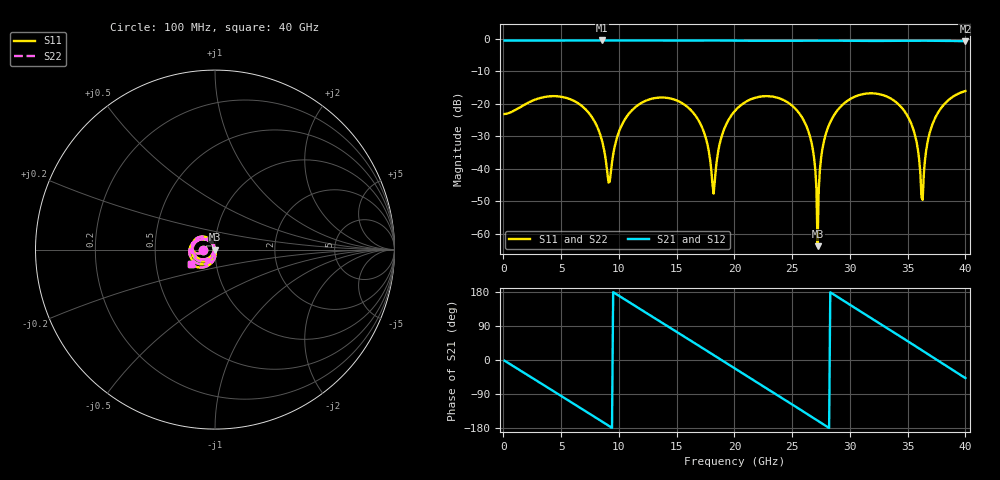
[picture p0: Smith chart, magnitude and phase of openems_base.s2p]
! thru_s8x2_L3: 2×thru, L3, 8 mm
! stackup: 8-layer 1.6 mm FR-4 without the L2 plane
! ports: 1, 2
! openEMS 0.37.0, staircase, base mesh (dfine 0.035 mm), 413725 cells
# Hz S RI R 50
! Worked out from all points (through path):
!   400 points, 100 MHz to 40 GHz, reference 50 ohm
!   highest |S21| = -0.57 dB at 8.5 GHz (marker M1); lowest = -0.8 dB at 40 GHz (marker M2)
!   group delay of S21, straight-line fit = 53.3 ps
!   lowest |S11| = -63.9 dB at 27.2 GHz (marker M3), VSWR 1.00, Z = 49.9 + j0.00371 ohm
!   |S11| at or under -10 dB: start of sweep to end of sweep
!   |S22| runs from -63.9 to -16.1 dB; largest |S21 - S12| = 0
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1e8  -0.0691 -0.0019  0.9304 -0.031  0.9304 -0.031  -0.0691 -0.0019
3.7e9  -0.1272 0.00938  0.3135 -0.8749  0.3135 -0.8749  -0.1272 0.00938
6.8e9  -0.0571 0.0714  -0.5903 -0.7241  -0.5903 -0.7241  -0.0571 0.0714
8.5e9  -0.00823 0.027  -0.8893 -0.2927  -0.8893 -0.2927  -0.00823 0.027
9.2e9  -0.00604 -0.00164  -0.9327 -0.0779  -0.9327 -0.0779  -0.00604 -0.00164
1.04e10  -0.0306 -0.0428  -0.8869 0.2922  -0.8869 0.2922  -0.0306 -0.0428
1.34e10  -0.1232 -0.00741  -0.2357 0.8979  -0.2357 0.8979  -0.1232 -0.00741
1.69e10  -0.0284 0.047  0.7367 0.574  0.7367 0.574  -0.0284 0.047
1.82e10  -0.00406 -0.000611  0.911 0.2076  0.911 0.2076  -0.00406 -0.000611
2.01e10  -0.0475 -0.0634  0.8513 -0.3747  0.8513 -0.3747  -0.0475 -0.0634
2.35e10  -0.1242 0.0212  0.0229 -0.9253  0.0229 -0.9253  -0.1242 0.0212
2.67e10  -0.00819 0.0224  -0.8092 -0.4628  -0.8092 -0.4628  -0.00819 0.0224
2.71e10  -0.00154 0.00471  -0.8644 -0.349  -0.8644 -0.349  -0.00154 0.00471
2.72e10  -0.000637 3.71e-05  -0.8757 -0.3194  -0.8757 -0.3194  -0.000637 3.71e-05
2.73e10  -5.89e-05 -0.0047  -0.886 -0.2895  -0.886 -0.2895  -5.89e-05 -0.0047
2.75e10  0.000126 -0.0143  -0.9033 -0.2286  -0.9033 -0.2286  0.000126 -0.0143
2.83e10  -0.0119 -0.0505  -0.9298 0.0219  -0.9298 0.0219  -0.0119 -0.0505
3.34e10  -0.1147 0.0453  0.1487 0.9098  0.1487 0.9098  -0.1147 0.0453
3.55e10  -0.0169 0.0358  0.7111 0.5953  0.7111 0.5953  -0.0169 0.0358
3.63e10  0.00264 -0.00198  0.8458 0.3811  0.8458 0.3811  0.00264 -0.00198
3.72e10  -0.00254 -0.0505  0.9198 0.1064  0.9198 0.1064  -0.00254 -0.0505
4e10  -0.1344 -0.0789  0.6142 -0.6769  0.6142 -0.6769  -0.1344 -0.0789
